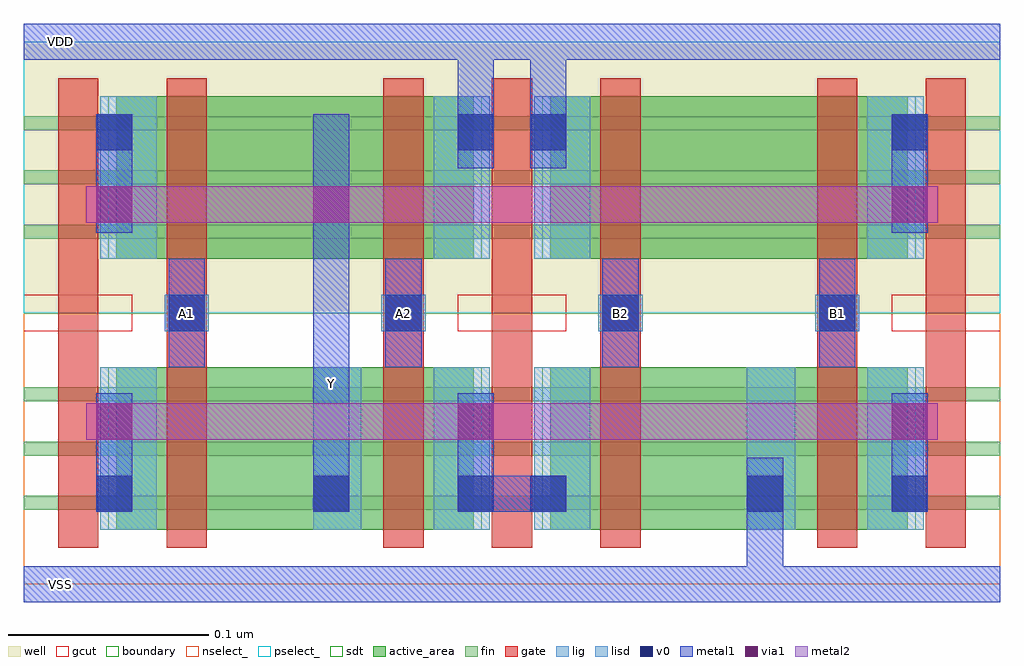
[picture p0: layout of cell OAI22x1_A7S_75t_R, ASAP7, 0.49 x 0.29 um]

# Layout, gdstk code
import gdstk
lib = gdstk.Library(unit=1e-6, precision=2.5e-10)
def R(c, l, rs):  # rectangles x0, y0, x1, y1
    for r in rs: c.add(gdstk.rectangle(r[:2], r[2:], *l))
def A(c, l, x, y, w, h, nx, ny, dx, dy):  # array of equal rectangles
    R(c, l, [(x+i*dx, y+j*dy, x+i*dx+w, y+j*dy+h) for i in range(nx) for j in range(ny)])
well = (1, 0)
fin = (2, 0)
gate = (7, 0)
gcut = (10, 0)
active_area = (11, 0)
nselect_ = (12, 0)
pselect_ = (13, 0)
lig = (16, 0)
lisd = (17, 0)
v0 = (18, 0)
metal1 = (19, 0)
metal2 = (20, 0)
via1 = (21, 0)
sdt = (88, 0)
boundary = (100, 0)

oai22x1_a7s_75t_r = lib.new_cell('OAI22x1_A7S_75t_R')
R(oai22x1_a7s_75t_r, well, [(0,0.135,0.486,0.27)])
A(oai22x1_a7s_75t_r, fin, 0, 0.037, 0.486, 0.007, 1, 3, 0, 0.027)
A(oai22x1_a7s_75t_r, fin, 0, 0.172, 0.486, 0.007, 1, 3, 0, 0.027)
A(oai22x1_a7s_75t_r, gate, 0.179, 0.018, 0.02, 0.234, 3, 1, 0.054, 0)
R(oai22x1_a7s_75t_r, gate, [(0.017,0.018,0.037,0.252), (0.071,0.018,0.091,0.252), (0.395,0.018,0.415,0.252), (0.449,0.018,0.469,0.252)])
A(oai22x1_a7s_75t_r, gcut, 0, 0.126, 0.054, 0.018, 3, 1, 0.216, 0)
R(oai22x1_a7s_75t_r, active_area, [(0.046,0.027,0.224,0.108), (0.262,0.027,0.44,0.108), (0.046,0.162,0.224,0.243), (0.262,0.162,0.44,0.243)])
R(oai22x1_a7s_75t_r, nselect_, [(0,0,0.486,0.135)])
R(oai22x1_a7s_75t_r, pselect_, [(0,0.135,0.486,0.27)])
A(oai22x1_a7s_75t_r, lig, 0.07, 0.126, 0.022, 0.018, 4, 1, 0.108, 0)
R(oai22x1_a7s_75t_r, lisd, [(0.038,0.027,0.066,0.108), (0.144,0.027,0.168,0.108), (0.204,0.027,0.232,0.108), (0.254,0.027,0.282,0.108), (0.36,0.027,0.384,0.108), (0.42,0.027,0.448,0.108), (0.038,0.162,0.066,0.243), (0.204,0.162,0.232,0.243), (0.254,0.162,0.282,0.243), (0.42,0.162,0.448,0.243)])
A(oai22x1_a7s_75t_r, v0, 0.072, 0.126, 0.018, 0.018, 4, 1, 0.108, 0)
R(oai22x1_a7s_75t_r, v0, [(0.036,0.036,0.054,0.054), (0.144,0.036,0.162,0.054), (0.216,0.036,0.234,0.054), (0.252,0.036,0.27,0.054), (0.36,0.036,0.378,0.054), (0.432,0.036,0.45,0.054), (0.036,0.216,0.054,0.234), (0.216,0.216,0.234,0.234), (0.252,0.216,0.27,0.234), (0.432,0.216,0.45,0.234)])
A(oai22x1_a7s_75t_r, metal1, 0.072, 0.108, 0.018, 0.054, 4, 1, 0.108, 0)
R(oai22x1_a7s_75t_r, metal1, [(0,-0.009,0.486,0.009), (0.36,0.009,0.378,0.063), (0.036,0.036,0.054,0.095), (0.144,0.036,0.162,0.234), (0.216,0.036,0.234,0.095), (0.216,0.036,0.27,0.054), (0.432,0.036,0.45,0.095), (0.036,0.175,0.054,0.234), (0.432,0.175,0.45,0.234), (0.216,0.207,0.234,0.261), (0.252,0.207,0.27,0.261), (0,0.261,0.486,0.279)])
R(oai22x1_a7s_75t_r, metal2, [(0.031,0.072,0.455,0.09), (0.031,0.18,0.455,0.198)])
R(oai22x1_a7s_75t_r, via1, [(0.036,0.072,0.054,0.09), (0.216,0.072,0.234,0.09), (0.432,0.072,0.45,0.09), (0.036,0.18,0.054,0.198), (0.144,0.18,0.162,0.198), (0.432,0.18,0.45,0.198)])
R(oai22x1_a7s_75t_r, sdt, [(0.042,0.027,0.066,0.108), (0.144,0.027,0.168,0.108), (0.204,0.027,0.228,0.108), (0.258,0.027,0.282,0.108), (0.36,0.027,0.384,0.108), (0.42,0.027,0.444,0.108), (0.042,0.162,0.066,0.243), (0.204,0.162,0.228,0.243), (0.258,0.162,0.282,0.243), (0.42,0.162,0.444,0.243)])
R(oai22x1_a7s_75t_r, boundary, [(0,0,0.486,0.27)])
oai22x1_a7s_75t_r.add(gdstk.Label('VSS', (0.018,0), layer=19, texttype=251))
oai22x1_a7s_75t_r.add(gdstk.Label('VDD', (0.018,0.27), layer=19, texttype=251))
oai22x1_a7s_75t_r.add(gdstk.Label('A1', (0.081,0.135), layer=19, texttype=251))
oai22x1_a7s_75t_r.add(gdstk.Label('A2', (0.189,0.135), layer=19, texttype=251))
oai22x1_a7s_75t_r.add(gdstk.Label('B2', (0.297,0.135), layer=19, texttype=251))
oai22x1_a7s_75t_r.add(gdstk.Label('B1', (0.405,0.135), layer=19, texttype=251))
oai22x1_a7s_75t_r.add(gdstk.Label('Y', (0.153,0.1), layer=19, texttype=251))

lib.write_gds('OAI22x1_A7S_75t_R.gds')
